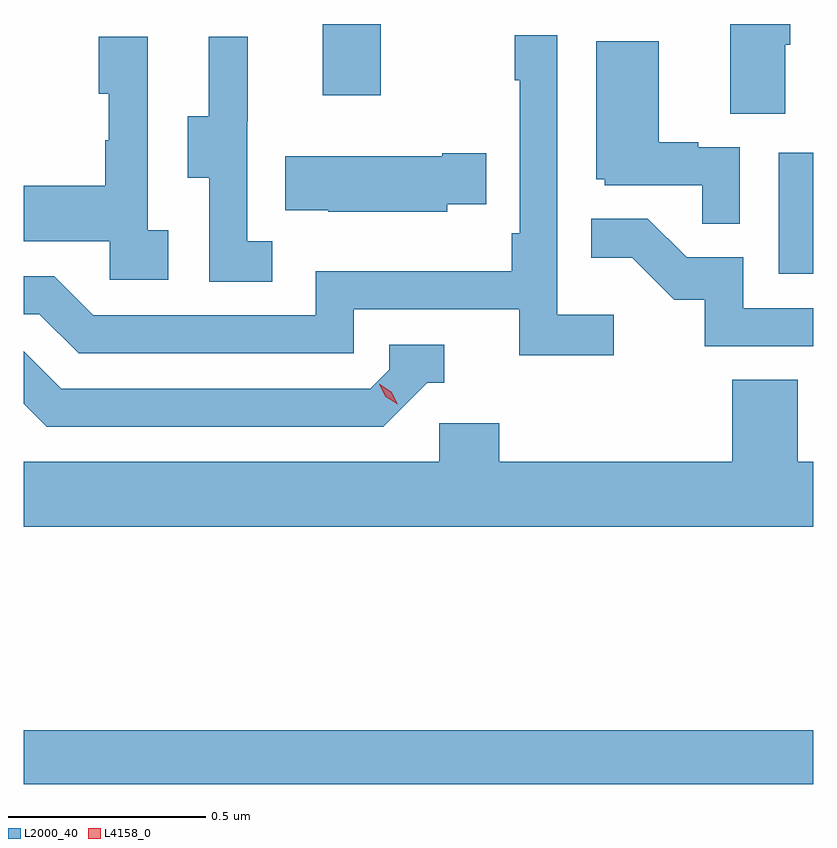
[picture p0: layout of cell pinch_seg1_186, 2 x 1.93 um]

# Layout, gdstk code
import gdstk
lib = gdstk.Library(unit=1e-6, precision=1e-09)
def R(c, l, rs):  # rectangles x0, y0, x1, y1
    for r in rs: c.add(gdstk.rectangle(r[:2], r[2:], *l))
def P(c, l, *ps):  # polygons
    for p in ps: c.add(gdstk.Polygon(p, *l))
L2000_40 = (2000, 40)
L4158_0 = (4158, 0)

pinch_seg1_186 = lib.new_cell('pinch_seg1_186')
R(pinch_seg1_186, L2000_40, [(1083.64,561.736,1085.64,561.872), (1085.552,563.028,1085.64,563.335), (1084.397,563.481,1084.545,563.661)])
P(pinch_seg1_186, L2000_40, [(1085.569,563.608),(1085.582,563.608),(1085.582,563.661),(1085.429,563.661),(1085.429,563.434),(1085.569,563.434)],
  [(1085.134,562.924),(1084.992,562.924),(1084.992,563.632),(1084.884,563.632),(1084.884,563.519),(1084.896,563.519),(1084.896,563.131),(1084.876,563.131),(1084.876,563.035),(1084.38,563.035),(1084.38,562.923),(1083.816,562.923),(1083.717,563.022),(1083.64,563.022),(1083.64,562.926),(1083.68,562.926),(1083.779,562.827),(1084.476,562.827),(1084.476,562.938),(1084.895,562.938),(1084.895,562.822),(1085.134,562.822)],
  [(1084.27,563.111),(1084.206,563.111),(1084.206,563.415),(1084.208,563.415),(1084.208,563.629),(1084.109,563.629),(1084.109,563.427),(1084.055,563.427),(1084.055,563.272),(1084.11,563.272),(1084.11,563.008),(1084.27,563.008)],
  [(1084.006,563.138),(1083.954,563.138),(1083.954,563.629),(1083.83,563.629),(1083.83,563.484),(1083.856,563.484),(1083.856,563.366),(1083.846,563.366),(1083.846,563.251),(1083.64,563.251),(1083.64,563.111),(1083.858,563.111),(1083.858,563.013),(1084.006,563.013)],
  [(1085.454,563.349),(1085.348,563.349),(1085.348,563.362),(1085.248,563.362),(1085.248,563.617),(1085.09,563.617),(1085.09,563.268),(1085.112,563.268),(1085.112,563.253),(1085.359,563.253),(1085.359,563.155),(1085.454,563.155)],
  [(1084.713,563.204),(1084.811,563.204),(1084.811,563.334),(1084.7,563.334),(1084.7,563.326),(1084.303,563.326),(1084.303,563.189),(1084.411,563.189),(1084.411,563.186),(1084.713,563.186)],
  [(1085.64,562.941),(1085.463,562.941),(1085.463,563.07),(1085.319,563.07),(1085.221,563.168),(1085.077,563.168),(1085.077,563.069),(1085.181,563.069),(1085.288,562.962),(1085.365,562.962),(1085.365,562.845),(1085.64,562.845)],
  [(1084.662,562.752),(1084.705,562.752),(1084.705,562.848),(1084.566,562.848),(1084.566,562.785),(1084.518,562.737),(1083.735,562.737),(1083.64,562.832),(1083.64,562.699),(1083.698,562.641),(1084.551,562.641)],
  [(1085.64,562.552),(1085.6,562.552),(1085.6,562.76),(1085.435,562.76),(1085.435,562.552),(1084.844,562.552),(1084.844,562.65),(1084.692,562.65),(1084.692,562.552),(1083.64,562.552),(1083.64,562.388),(1085.64,562.388)])
P(pinch_seg1_186, L4158_0, [(1084.588,562.698),(1084.557,562.717),(1084.54,562.749),(1084.54,562.75),(1084.54,562.75),(1084.571,562.73),(1084.588,562.698),(1084.588,562.698)])

lib.write_gds('pinch_seg1_186.gds')
